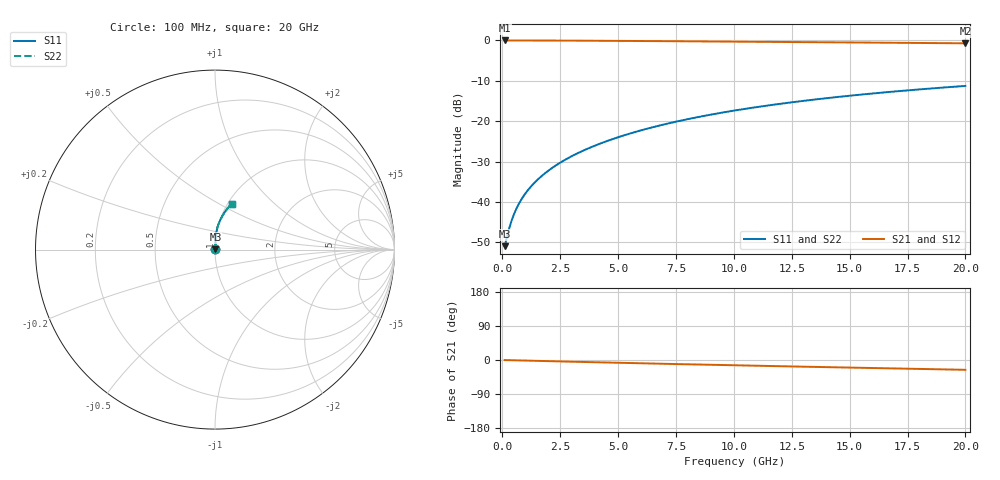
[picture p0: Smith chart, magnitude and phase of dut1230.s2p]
! Touchstone file exported from HFSS 2024.1.0
!  File:  C:/UserFiles/LocalFiles/RDL_TSV_Batchsim/temp_RDL_top_1230_1780240586.aedt
!  Generated:  11:18:53 PM May 31, 2026
!  Design:  RDL_top
!  Project:  temp_RDL_top_1230_1780240586
!  Setup:  Setup1
!  Solution:  Sweep
! Variables:
!  dtsv = 10.80580581um
!  hbump = 3um
!  htsv = 56.52um
!  ldown = 100um
!  lrdl = 328.31um
!  p = 40
!  p1 = 51.58um
!  rhole = 1um
!  t = 450um
!  tdown = 3.915915916um
!  trdl = 2.33um
!  wdown = 15.38538539um
!  wrdl = 23.09um
# GHz S MA R 50.000000
! Terminal data exported
! Port[1] = Box2_T1
! Port[2] = Box2_T2
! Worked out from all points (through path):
!   200 points, 100 MHz to 20 GHz, reference 50 ohm
!   highest |S21| = -0.02 dB at 100 MHz (marker M1); lowest = -0.7 dB at 20 GHz (marker M2)
!   group delay of S21, straight-line fit = 3.56 ps
!   lowest |S11| = -51.0 dB at 100 MHz (marker M3), VSWR 1.01, Z = 50.3 + j0.133 ohm
!   |S11| at or under -10 dB: start of sweep to end of sweep
!   |S22| runs from -51.0 to -11.3 dB; largest |S21 - S12| = 3.3e-15
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0.1  0.00283 27.9  0.9975 -0.2  0.9975 -0.2  0.00283 27.9
! Gamma 0 0 0 0
! Port Impedance 50 0 50 0
0.3  0.004715 56.3  0.9973 -0.5  0.9973 -0.5  0.004714 56.3
0.4  0.005841 62.5  0.9972 -0.6  0.9972 -0.6  0.005841 62.5
0.5  0.00699 66.6  0.997 -0.8  0.997 -0.8  0.00699 66.6
0.6  0.008144 69.5  0.9969 -0.9  0.9969 -0.9  0.008145 69.5
0.8  0.01045 73.5  0.9966 -1.2  0.9966 -1.2  0.01045 73.5
1.1  0.0139 77.3  0.9962 -1.7  0.9962 -1.7  0.0139 77.3
1.3  0.01622 79.0  0.9959 -2.0  0.9959 -2.0  0.01622 79.0
1.6  0.01973 81.0  0.9954 -2.4  0.9954 -2.4  0.01973 81.0
2.1  0.0257 83.2  0.9945 -3.2  0.9945 -3.2  0.0257 83.2
2.7  0.03306 84.9  0.9931 -4.1  0.9931 -4.1  0.03306 84.9
3.5  0.04319 86.1  0.9909 -5.2  0.9909 -5.2  0.0432 86.1
4.2  0.05236 86.7  0.9886 -6.2  0.9886 -6.2  0.05237 86.7
5  0.06316 86.8  0.9858 -7.3  0.9858 -7.3  0.06316 86.8
5.9  0.07564 86.6  0.9823 -8.6  0.9823 -8.6  0.07565 86.6
6.8  0.0884 86.1  0.9787 -9.8  0.9787 -9.8  0.08841 86.1
8.4  0.1115 84.6  0.9719 -11.9  0.9719 -11.9  0.1115 84.6
10.1  0.1363 82.7  0.9646 -14.0  0.9646 -14.0  0.1363 82.7
11.7  0.1595 80.6  0.9576 -16.0  0.9576 -16.0  0.1596 80.7
13.4  0.1839 78.4  0.95 -18.1  0.95 -18.1  0.1839 78.4
16.7  0.2296 74.0  0.935 -22.1  0.935 -22.1  0.2297 74.0
20  0.2728 69.7  0.9194 -25.9  0.9194 -25.9  0.2729 69.7
